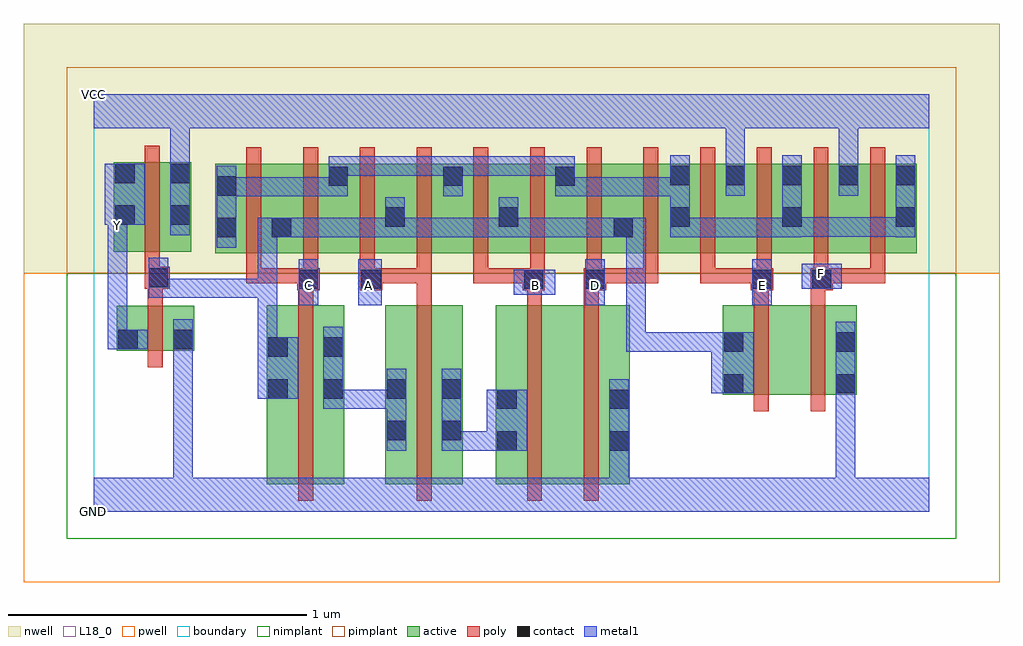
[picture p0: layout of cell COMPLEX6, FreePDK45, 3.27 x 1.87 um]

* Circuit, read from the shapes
.subckt COMPLEX6 A B C D E F GND VCC Y
M1 GND n1 Y VSUBS nfet w=0.15u l=0.05u
M2 n2 C n1 VSUBS nfet w=0.6u l=0.05u
M3 n3 A n2 VSUBS nfet w=0.6u l=0.05u
M4 n4 B n3 VSUBS nfet w=0.6u l=0.05u
M5 GND D n4 VSUBS nfet w=0.6u l=0.05u
M6 n5 E n1 VSUBS nfet w=0.3u l=0.05u
M7 GND F n5 VSUBS nfet w=0.3u l=0.05u
M8 VCC n1 Y n6 pfet w=0.3u l=0.05u
M9 n1 C n7 n6 pfet w=0.3u l=0.05u m=2
M10 n1 A n7 n6 pfet w=0.3u l=0.05u m=2
M11 n1 B n7 n6 pfet w=0.3u l=0.05u m=2
M12 n1 D n7 n6 pfet w=0.3u l=0.05u m=2
M13 VCC E n7 n6 pfet w=0.3u l=0.05u m=2
M14 VCC F n7 n6 pfet w=0.3u l=0.05u m=2
.ends

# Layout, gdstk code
import gdstk
lib = gdstk.Library(unit=1e-6, precision=1e-09)
def R(c, l, rs):  # rectangles x0, y0, x1, y1
    for r in rs: c.add(gdstk.rectangle(r[:2], r[2:], *l))
def A(c, l, x, y, w, h, nx, ny, dx, dy):  # array of equal rectangles
    R(c, l, [(x+i*dx, y+j*dy, x+i*dx+w, y+j*dy+h) for i in range(nx) for j in range(ny)])
active = (1, 0)
pwell = (2, 0)
nwell = (3, 0)
nimplant = (4, 0)
pimplant = (5, 0)
poly = (9, 0)
contact = (10, 0)
metal1 = (11, 0)
L18_0 = (18, 0)
boundary = (235, 0)

complex6 = lib.new_cell('COMPLEX6')
A(complex6, active, 0.407, 0.867, 0.26, 0.3, 3, 1, 0.76, 0)
A(complex6, active, 2.112, 0.867, 0.265, 0.3, 3, 1, 0.19, 0)
R(complex6, active, [(0.58,0.092,0.84,0.692), (0.977,0.092,1.237,0.692), (1.347,0.092,1.572,0.692), (1.572,0.092,1.797,0.692), (0.58,0.145,0.655,0.692), (0.765,0.145,0.84,0.692), (0.977,0.145,1.052,0.692), (1.162,0.145,1.237,0.692), (1.347,0.145,1.452,0.692), (1.722,0.145,1.797,0.692), (2.107,0.392,2.182,0.692), (2.107,0.392,2.332,0.692), (2.332,0.392,2.557,0.692), (2.482,0.392,2.557,0.692), (0.077,0.54,0.152,0.69), (0.077,0.54,0.337,0.69), (0.262,0.54,0.337,0.69), (0.407,0.867,0.482,1.167), (0.592,0.867,0.857,1.167), (0.782,0.867,1.047,1.167), (0.972,0.867,1.242,1.167), (1.352,0.867,1.617,1.167), (1.542,0.867,1.812,1.167), (1.737,0.867,2.002,1.167), (2.682,0.867,2.757,1.167), (0.067,0.872,0.142,1.172), (0.067,0.872,0.327,1.172), (0.252,0.872,0.327,1.172), (0.592,0.915,0.667,1.07), (1.737,0.915,1.812,1.07), (0.972,0.95,1.047,1.07), (1.352,0.95,1.427,1.07), (1.927,0.95,2.002,1.167), (2.302,0.95,2.377,1.167), (0.782,0.995,0.857,1.167), (1.167,0.995,1.242,1.167), (1.542,0.995,1.617,1.167), (2.112,0.995,2.187,1.167), (2.492,0.995,2.567,1.167)])
R(complex6, pwell, [(-0.235,-0.235,3.035,0.8)])
R(complex6, nwell, [(-0.235,0.8,3.035,1.635)])
R(complex6, nimplant, [(-0.09,-0.09,2.89,0.8)])
R(complex6, pimplant, [(-0.09,0.8,2.89,1.49)])
A(complex6, poly, 0.512, 0.767, 0.05, 0.095, 12, 1, 0.19, 0)
A(complex6, poly, 0.512, 0.812, 0.05, 0.41, 12, 1, 0.19, 0)
R(complex6, poly, [(0.685,0.037,0.735,0.747), (1.082,0.037,1.132,0.747), (1.452,0.037,1.502,0.747), (1.642,0.037,1.692,0.747), (2.212,0.337,2.262,0.747), (2.402,0.337,2.452,0.747), (0.182,0.485,0.232,0.745), (0.182,0.695,0.232,0.797), (0.685,0.697,0.735,0.792), (1.082,0.697,1.132,0.817), (1.452,0.697,1.502,0.792), (1.642,0.697,1.692,0.792), (2.212,0.697,2.262,0.792), (2.402,0.697,2.452,0.792), (0.682,0.742,0.757,0.817), (0.892,0.742,0.967,0.817), (1.437,0.742,1.512,0.817), (1.642,0.742,1.717,0.817), (2.202,0.742,2.277,0.817), (2.402,0.742,2.477,0.817), (0.172,0.747,0.255,0.822), (0.512,0.767,0.562,0.817), (0.512,0.767,0.732,0.817), (0.682,0.767,0.732,0.817), (0.682,0.767,0.732,0.817), (0.917,0.767,0.967,0.817), (0.917,0.767,0.967,0.817), (0.917,0.767,1.132,0.817), (1.082,0.767,1.132,0.817), (1.272,0.767,1.322,0.817), (1.272,0.767,1.322,0.817), (1.272,0.767,1.322,0.817), (1.272,0.767,1.487,0.817), (1.667,0.767,1.892,0.817), (1.842,0.767,1.892,0.817), (1.842,0.767,1.892,0.817), (1.842,0.767,1.892,0.817), (2.032,0.767,2.082,0.817), (2.032,0.767,2.082,0.817), (2.032,0.767,2.082,0.817), (2.032,0.767,2.252,0.817), (2.427,0.767,2.652,0.817), (2.602,0.767,2.652,0.817), (2.602,0.767,2.652,0.817), (2.602,0.767,2.652,0.817), (0.172,0.772,0.222,0.867), (0.172,0.817,0.222,1.227)])
A(complex6, contact, 2.117, 1.095, 0.065, 0.065, 4, 1, 0.19, 0)
R(complex6, contact, [(1.352,0.205,1.417,0.27), (1.727,0.205,1.792,0.27), (0.982,0.24,1.047,0.305), (1.167,0.24,1.232,0.305), (1.352,0.345,1.417,0.41), (1.727,0.345,1.792,0.41), (0.585,0.38,0.65,0.445), (0.77,0.38,0.835,0.445), (0.982,0.38,1.047,0.445), (1.167,0.38,1.232,0.445), (2.112,0.397,2.177,0.462), (2.487,0.397,2.552,0.462), (0.585,0.52,0.65,0.585), (0.77,0.52,0.835,0.585), (2.112,0.537,2.177,0.602), (2.487,0.537,2.552,0.602), (0.082,0.545,0.147,0.61), (0.267,0.545,0.332,0.61), (0.687,0.747,0.752,0.812), (0.897,0.747,0.962,0.812), (1.442,0.747,1.507,0.812), (1.647,0.747,1.712,0.812), (2.207,0.747,2.272,0.812), (2.407,0.747,2.472,0.812), (0.185,0.752,0.25,0.817), (0.412,0.92,0.477,0.985), (0.597,0.92,0.662,0.985), (1.742,0.92,1.807,0.985), (0.977,0.955,1.042,1.02), (1.357,0.955,1.422,1.02), (1.932,0.955,1.997,1.02), (2.307,0.955,2.372,1.02), (2.687,0.955,2.752,1.02), (0.072,0.962,0.137,1.027), (0.257,0.962,0.322,1.027), (0.412,1.06,0.477,1.125), (0.787,1.092,0.852,1.157), (1.172,1.092,1.237,1.157), (1.547,1.092,1.612,1.157), (1.932,1.095,1.997,1.16), (0.072,1.102,0.137,1.167), (0.257,1.102,0.322,1.167)])
R(complex6, metal1, [(0,0,2.8,0.115), (0.267,0.05,0.332,0.115), (0.267,0.05,0.332,0.115), (0.267,0.05,0.332,0.115), (0.267,0.05,0.332,0.115), (0.267,0.05,0.332,0.575), (1.727,0.05,1.792,0.115), (1.727,0.05,1.792,0.115), (1.727,0.05,1.792,0.235), (2.487,0.05,2.552,0.115), (2.487,0.05,2.552,0.115), (2.487,0.05,2.552,0.115), (2.487,0.05,2.552,0.115), (2.487,0.05,2.552,0.427), (1.727,0.17,1.792,0.445), (0.982,0.205,1.047,0.48), (1.167,0.205,1.232,0.27), (1.167,0.205,1.232,0.27), (1.167,0.205,1.232,0.48), (1.167,0.205,1.382,0.27), (1.317,0.205,1.452,0.41), (0.77,0.345,0.835,0.41), (0.77,0.345,0.835,0.41), (0.77,0.345,0.835,0.62), (0.77,0.345,1.047,0.41), (2.487,0.362,2.552,0.427), (2.487,0.362,2.552,0.427), (2.487,0.362,2.552,0.637), (0.55,0.38,0.685,0.585), (2.07,0.397,2.212,0.602), (0.267,0.51,0.332,0.575), (0.267,0.51,0.332,0.575), (0.267,0.51,0.332,0.575), (0.267,0.51,0.332,0.575), (0.267,0.51,0.332,0.645), (0.55,0.52,0.615,0.782), (1.785,0.537,1.85,0.602), (1.785,0.537,1.997,0.602), (1.785,0.537,1.85,0.985), (1.932,0.537,1.997,0.602), (1.932,0.537,1.997,0.602), (1.932,0.537,1.997,0.602), (1.932,0.537,2.135,0.602), (2.07,0.537,2.135,0.602), (2.07,0.537,2.135,0.602), (2.07,0.537,2.135,0.602), (2.07,0.537,2.135,0.602), (0.047,0.545,0.112,0.957), (0.047,0.545,0.182,0.61), (0.687,0.692,0.752,0.847), (0.887,0.692,0.965,0.847), (1.647,0.692,1.712,0.847), (2.207,0.692,2.272,0.847), (0.185,0.717,0.25,0.782), (0.185,0.717,0.25,0.782), (0.185,0.717,0.25,0.852), (0.185,0.717,0.477,0.782), (0.412,0.717,0.477,0.782), (0.412,0.717,0.477,0.782), (0.412,0.717,0.477,0.782), (0.412,0.717,0.615,0.782), (0.55,0.717,0.615,0.782), (0.55,0.717,0.615,0.985), (1.407,0.727,1.547,0.812), (2.372,0.747,2.507,0.832), (0.412,0.885,0.477,1.16), (0.047,0.892,0.112,1.027), (0.55,0.92,0.697,0.985), (0.632,0.92,0.697,0.985), (0.632,0.92,0.697,0.985), (0.632,0.92,0.905,0.985), (0.84,0.92,0.905,0.985), (0.84,0.92,0.905,0.985), (0.84,0.92,0.905,0.985), (0.84,0.92,1.042,0.985), (0.977,0.92,1.042,0.985), (0.977,0.92,1.042,0.985), (0.977,0.92,1.042,1.055), (0.977,0.92,1.185,0.985), (1.12,0.92,1.185,0.985), (1.12,0.92,1.185,0.985), (1.12,0.92,1.185,0.985), (1.12,0.92,1.422,0.985), (1.357,0.92,1.422,1.055), (1.357,0.92,1.497,0.985), (1.432,0.92,1.497,0.985), (1.432,0.92,1.635,0.985), (1.57,0.92,1.635,0.985), (1.57,0.92,1.635,0.985), (1.57,0.92,1.635,0.985), (1.57,0.92,1.772,0.985), (1.707,0.92,1.85,0.985), (1.932,0.92,1.997,0.985), (1.932,0.92,1.997,0.985), (1.932,0.92,1.997,1.195), (1.932,0.92,2.135,0.985), (2.07,0.92,2.135,0.985), (2.07,0.92,2.235,0.985), (2.17,0.92,2.235,0.985), (2.17,0.92,2.272,0.985), (2.207,0.92,2.272,0.985), (2.207,0.92,2.372,0.985), (2.307,0.92,2.372,1.195), (2.687,0.92,2.752,1.195), (2.307,0.922,2.615,0.987), (2.55,0.922,2.615,0.987), (2.55,0.922,2.615,0.987), (2.55,0.922,2.615,0.987), (2.55,0.922,2.752,0.987), (2.687,0.922,2.752,0.987), (2.687,0.922,2.752,0.987), (0.257,0.927,0.322,1.202), (0.037,0.962,0.172,1.167), (0.047,0.962,0.112,1.027), (0.412,1.057,0.477,1.122), (0.412,1.057,0.477,1.122), (0.412,1.057,0.697,1.122), (0.632,1.057,0.697,1.122), (0.632,1.057,0.697,1.122), (0.632,1.057,0.697,1.122), (0.632,1.057,0.852,1.122), (0.787,1.057,0.852,1.192), (1.172,1.057,1.237,1.192), (1.547,1.057,1.612,1.192), (1.547,1.057,1.772,1.122), (1.707,1.057,1.772,1.122), (1.707,1.057,1.772,1.122), (1.707,1.057,1.772,1.122), (1.707,1.057,1.997,1.122), (1.932,1.057,1.997,1.122), (1.932,1.057,1.997,1.122), (2.117,1.06,2.182,1.195), (2.497,1.06,2.562,1.195), (0.787,1.127,0.852,1.192), (0.787,1.127,0.852,1.192), (0.787,1.127,1.047,1.192), (0.982,1.127,1.047,1.192), (0.982,1.127,1.047,1.192), (0.982,1.127,1.047,1.192), (0.982,1.127,1.237,1.192), (1.172,1.127,1.237,1.192), (1.172,1.127,1.237,1.192), (1.172,1.127,1.375,1.192), (1.31,1.127,1.375,1.192), (1.31,1.127,1.375,1.192), (1.31,1.127,1.375,1.192), (1.31,1.127,1.612,1.192), (2.117,1.13,2.182,1.195), (2.117,1.13,2.182,1.195), (2.117,1.13,2.182,1.35), (2.497,1.13,2.562,1.35), (0.257,1.137,0.322,1.35), (0,1.285,2.8,1.4), (0.257,1.285,0.322,1.35), (0.257,1.285,0.322,1.35), (2.497,1.285,2.562,1.35), (2.497,1.285,2.562,1.35)])
R(complex6, L18_0, [(0,0,2.8,0.115), (0.267,0.05,0.332,0.115), (0.267,0.05,0.332,0.115), (0.267,0.05,0.332,0.115), (0.267,0.05,0.332,0.115), (0.267,0.05,0.332,0.575), (1.727,0.05,1.792,0.115), (1.727,0.05,1.792,0.115), (1.727,0.05,1.792,0.235), (2.487,0.05,2.552,0.115), (2.487,0.05,2.552,0.115), (2.487,0.05,2.552,0.115), (2.487,0.05,2.552,0.115), (2.487,0.05,2.552,0.427), (1.727,0.17,1.792,0.445), (2.487,0.362,2.552,0.427), (2.487,0.362,2.552,0.427), (2.487,0.362,2.552,0.637), (0.267,0.51,0.332,0.645), (0.267,0.51,0.332,0.575), (0.267,0.51,0.332,0.575), (0.267,0.51,0.332,0.575), (0.267,0.51,0.332,0.575), (0.047,0.545,0.182,0.61), (0.047,0.545,0.112,0.957), (0.687,0.692,0.752,0.847), (0.887,0.692,0.965,0.847), (1.647,0.692,1.712,0.847), (2.207,0.692,2.272,0.847), (0.687,0.727,0.752,0.792), (0.887,0.727,0.952,0.792), (1.407,0.727,1.547,0.812), (1.447,0.727,1.512,0.792), (1.647,0.727,1.712,0.792), (2.207,0.727,2.272,0.792), (2.372,0.747,2.507,0.832), (2.407,0.767,2.472,0.832), (0.047,0.892,0.112,1.027), (0.047,0.927,0.112,0.992), (0.257,0.927,0.322,1.202), (0.037,0.962,0.172,1.167), (0.047,0.962,0.112,1.027), (2.117,1.06,2.182,1.195), (2.497,1.06,2.562,1.195), (2.117,1.13,2.182,1.195), (2.117,1.13,2.182,1.195), (2.117,1.13,2.182,1.35), (2.497,1.13,2.562,1.35), (0.257,1.137,0.322,1.35), (0,1.285,2.8,1.4), (0.257,1.285,0.322,1.35), (0.257,1.285,0.322,1.35), (2.497,1.285,2.562,1.35), (2.497,1.285,2.562,1.35)])
R(complex6, boundary, [(0,0,2.8,1.4)])
complex6.add(gdstk.Label('A', (0.92,0.76), layer=11, texttype=0))
complex6.add(gdstk.Label('B', (1.48,0.76), layer=11, texttype=0))
complex6.add(gdstk.Label('C', (0.72,0.76), layer=11, texttype=0))
complex6.add(gdstk.Label('D', (1.68,0.76), layer=11, texttype=0))
complex6.add(gdstk.Label('E', (2.24,0.76), layer=11, texttype=0))
complex6.add(gdstk.Label('F', (2.44,0.8), layer=11, texttype=0))
complex6.add(gdstk.Label('Y', (0.08,0.96), layer=11, texttype=0))
complex6.add(gdstk.Label('VCC', (0,1.4), layer=11, texttype=0))
complex6.add(gdstk.Label('GND', (0,0), layer=11, texttype=0))

lib.write_gds('COMPLEX6.gds')
